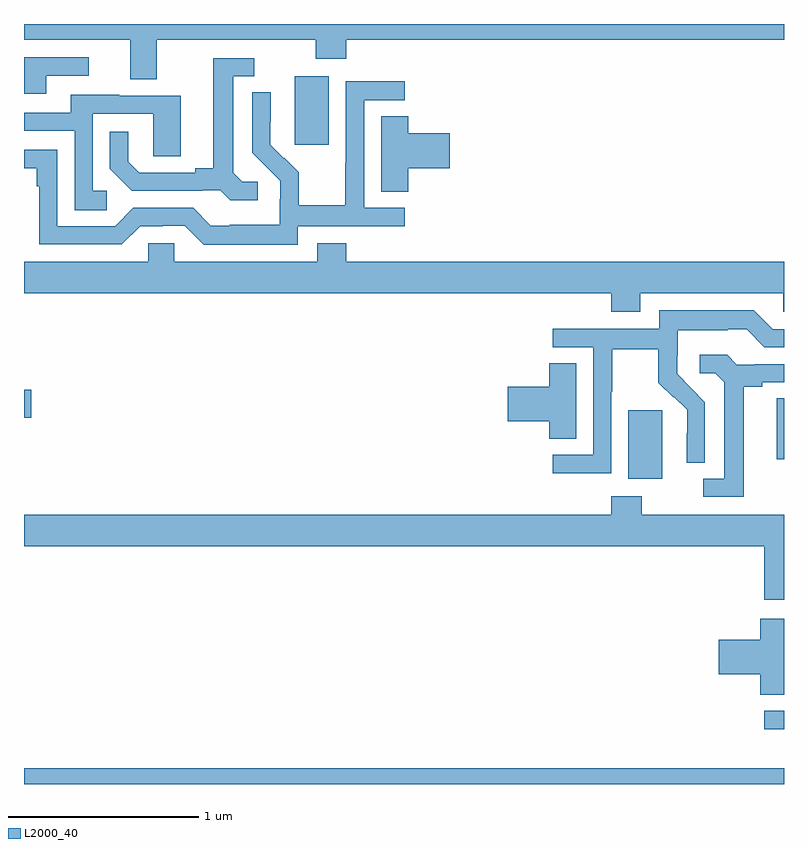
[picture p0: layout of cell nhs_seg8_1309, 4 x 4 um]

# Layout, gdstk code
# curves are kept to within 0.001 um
import gdstk
lib = gdstk.Library(unit=1e-6, precision=1e-09)
def R(c, l, rs):  # rectangles x0, y0, x1, y1
    for r in rs: c.add(gdstk.rectangle(r[:2], r[2:], *l))
def P(c, l, *ps):  # polygons
    for p in ps: c.add(gdstk.Polygon(p, *l))
L2000_40 = (2000, 40)

nhs_seg8_1309 = lib.new_cell('nhs_seg8_1309')
R(nhs_seg8_1309, L2000_40, [(193,1129.9,197,1129.984), (196.896,1130.189,197,1130.286), (196.181,1131.506,196.36,1131.867), (196.961,1131.609,197,1131.929), (193,1131.827,193.039,1131.974), (194.426,1133.265,194.605,1133.626)])
P(nhs_seg8_1309, L2000_40, [(193.699,1133.816),(194.536,1133.816),(194.536,1133.717),(194.696,1133.717),(194.696,1133.816),(197,1133.816),(197,1133.9),(193,1133.9),(193,1133.816),(193.559,1133.816),(193.559,1133.608),(193.699,1133.608)],
  [(193.117,1133.628),(193.342,1133.628),(193.342,1133.724),(193,1133.724),(193,1133.532),(193.117,1133.532)],
  [(194.23,1133.07),(194.148,1133.07),(194.101,1133.117),(194.101,1133.625),(194.212,1133.625),(194.212,1133.721),(193.997,1133.721),(193.997,1133.141),(193.901,1133.141),(193.901,1133.118),(193.606,1133.118),(193.549,1133.175),(193.549,1133.332),(193.452,1133.332),(193.452,1133.138),(193.568,1133.022),(193.94,1133.022),(193.94,1133.025),(194.034,1133.025),(194.086,1132.973),(194.23,1132.973)],
  [(194.442,1132.836),(195.004,1132.836),(195.004,1132.932),(194.79,1132.932),(194.79,1133.499),(195.004,1133.499),(195.004,1133.598),(194.694,1133.598),(194.694,1133.168),(194.692,1133.168),(194.692,1132.945),(194.447,1132.945),(194.447,1133.119),(194.37,1133.196),(194.367,1133.193),(194.297,1133.264),(194.298,1133.54),(194.202,1133.54),(194.202,1133.222),(194.348,1133.074),(194.348,1132.977),(194.346,1132.977),(194.346,1132.843),(194.083,1132.843),(194.083,1132.839),(193.983,1132.839),(193.89,1132.932),(193.575,1132.932),(193.479,1132.836),(193.176,1132.836),(193.176,1133.238),(193,1133.238),(193,1133.142),(193.067,1133.142),(193.067,1133.045),(193.08,1133.045),(193.08,1132.74),(193.515,1132.74),(193.611,1132.836),(193.73,1132.836),(193.73,1132.839),(193.845,1132.839),(193.945,1132.739),(194.442,1132.739)],
  [(193.435,1133.022),(193.362,1133.022),(193.362,1133.427),(193.68,1133.427),(193.68,1133.203),(193.825,1133.203),(193.825,1133.523),(193.501,1133.523),(193.501,1133.527),(193.247,1133.527),(193.247,1133.433),(193,1133.433),(193,1133.337),(193.266,1133.337),(193.266,1132.921),(193.435,1132.921)],
  [(195.023,1133.141),(195.241,1133.141),(195.241,1133.324),(195.023,1133.324),(195.023,1133.414),(194.879,1133.414),(194.879,1133.017),(195.023,1133.017)],
  [(196.243,1132.484),(196.995,1132.484),(196.995,1132.386),(197,1132.386),(197,1132.648),(194.696,1132.648),(194.696,1132.747),(194.543,1132.747),(194.543,1132.648),(193.791,1132.648),(193.791,1132.746),(193.653,1132.746),(193.653,1132.648),(193,1132.648),(193,1132.484),(196.091,1132.484),(196.091,1132.385),(196.243,1132.385)],
  [(196.092,1131.964),(196.095,1131.964),(196.095,1132.188),(196.339,1132.188),(196.339,1132.013),(196.416,1131.936),(196.419,1131.939),(196.49,1131.869),(196.49,1131.746),(196.488,1131.746),(196.488,1131.592),(196.584,1131.592),(196.584,1131.91),(196.438,1132.058),(196.438,1132.155),(196.44,1132.155),(196.44,1132.289),(196.703,1132.289),(196.703,1132.293),(196.803,1132.293),(196.896,1132.2),(197,1132.2),(197,1132.293),(196.941,1132.293),(196.841,1132.393),(196.344,1132.393),(196.344,1132.296),(195.783,1132.296),(195.783,1132.2),(195.996,1132.2),(195.996,1131.633),(195.783,1131.633),(195.783,1131.535),(196.092,1131.535)],
  [(196.789,1131.992),(196.885,1131.992),(196.885,1132.014),(197,1132.014),(197,1132.11),(196.846,1132.11),(196.846,1132.107),(196.752,1132.107),(196.7,1132.159),(196.557,1132.159),(196.557,1132.062),(196.638,1132.062),(196.685,1132.015),(196.685,1131.507),(196.575,1131.507),(196.575,1131.411),(196.789,1131.411)],
  [(195.907,1132.115),(195.764,1132.115),(195.764,1131.992),(195.546,1131.992),(195.546,1131.809),(195.764,1131.809),(195.764,1131.718),(195.907,1131.718)],
  [(197,1131.316),(196.251,1131.316),(196.251,1131.415),(196.091,1131.415),(196.091,1131.316),(193,1131.316),(193,1131.152),(196.895,1131.152),(196.895,1130.871),(197,1130.871)],
  [(197,1130.77),(196.874,1130.77),(196.874,1130.66),(196.656,1130.66),(196.656,1130.477),(196.874,1130.477),(196.874,1130.371),(197,1130.371)])

lib.write_gds('nhs_seg8_1309.gds')
